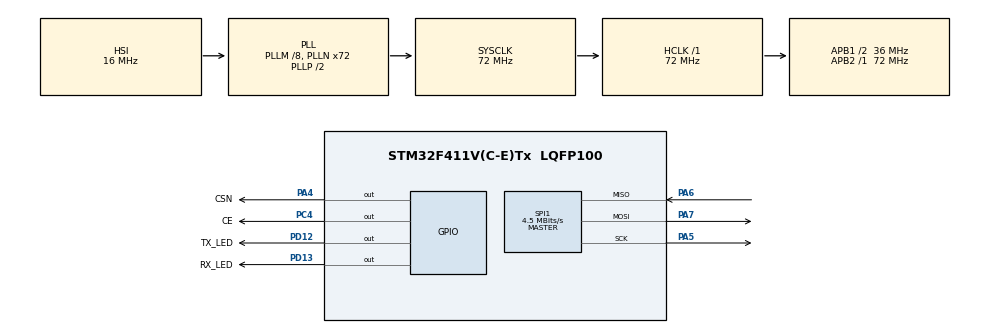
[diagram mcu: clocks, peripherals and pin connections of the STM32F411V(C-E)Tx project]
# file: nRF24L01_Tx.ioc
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Mcu.Family=STM32F4
Mcu.Name=STM32F411V(C-E)Tx
Mcu.Package=LQFP100
NVIC.PriorityGroup=NVIC_PRIORITYGROUP_4
PA13.Mode=Serial_Wire
PA13.Signal=SYS_JTMS-SWDIO
PA14.Mode=Serial_Wire
PA14.Signal=SYS_JTCK-SWCLK
PA4.GPIO_Label=CSN
PA4.Signal=GPIO_Output
PA5.Mode=Full_Duplex_Master
PA5.Signal=SPI1_SCK
PA6.Mode=Full_Duplex_Master
PA6.Signal=SPI1_MISO
PA7.Mode=Full_Duplex_Master
PA7.Signal=SPI1_MOSI
PC4.GPIO_Label=CE
PC4.Signal=GPIO_Output
PD12.GPIO_Label=TX_LED
PD12.Signal=GPIO_Output
PD13.GPIO_Label=RX_LED
PD13.Signal=GPIO_Output
ProjectManager.HeapSize=0x200
ProjectManager.StackSize=0x400
ProjectManager.TargetToolchain=STM32CubeIDE
RCC.48MHZClocksFreq_Value=36000000
RCC.AHBFreq_Value=72000000
RCC.APB1CLKDivider=RCC_HCLK_DIV2
RCC.APB1Freq_Value=36000000
RCC.APB1TimFreq_Value=72000000
RCC.APB2Freq_Value=72000000
RCC.APB2TimFreq_Value=72000000
RCC.CortexFreq_Value=72000000
RCC.HCLKFreq_Value=72000000
RCC.HSE_VALUE=25000000
RCC.HSI_VALUE=16000000
RCC.LSE_VALUE=32768
RCC.PLLM=8
RCC.PLLN=72
RCC.SYSCLKFreq_VALUE=72000000
RCC.SYSCLKSource=RCC_SYSCLKSOURCE_PLLCLK
RCC.VCOOutputFreq_Value=144000000
SPI1.BaudRatePrescaler=SPI_BAUDRATEPRESCALER_16
SPI1.CalculateBaudRate=4.5 MBits/s
SPI1.Direction=SPI_DIRECTION_2LINES
SPI1.Mode=SPI_MODE_MASTER
SPI1.VirtualType=VM_MASTER
TIM1.AutoReloadPreload=TIM_AUTORELOAD_PRELOAD_ENABLE
TIM1.Period=0xFFFE
TIM1.Prescaler=71
VP_TIM1_VS_ClockSourceINT.Mode=Internal
board=custom

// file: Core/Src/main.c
/* USER CODE BEGIN Header */
/**
  ******************************************************************************
  * @file           : main.c
  * @brief          : Main program body
  ******************************************************************************
  * @attention
  *
  * <h2><center>&copy; Copyright (c) 2020 STMicroelectronics.
  * All rights reserved.</center></h2>
  *
  * This software component is licensed by ST under BSD 3-Clause license,
  * the "License"; You may not use this file except in compliance with the
  * License. You may obtain a copy of the License at:
  *                        opensource.org/licenses/BSD-3-Clause
  *
  ******************************************************************************
  */
/* USER CODE END Header */

#include "main.h"
#include "spi.h"
#include "tim.h"
#include "gpio.h"

/* USER CODE BEGIN Includes */
#include "settingModule.h"
/* USER CODE END Includes */

/* USER CODE BEGIN PTD */
#define TEST_CONFIG 1
#define TEST_STATIC_LENGTH 1
#define TEST_DYNAMIC_LENGTH 1
#define	TEST_ACK_PAYLOAD 1

#define TEST_TRANSMIT 0

#define TAB_SIZE 5
#define BUF_SIZE 32
/* USER CODE END PTD */

/* USER CODE BEGIN PV */
uint32_t sendStatus = 0;
uint32_t regTmp = 0;
uint8_t counter = 0;
uint8_t pipe0 = 0;
uint8_t j;

static uint8_t rxPayloadWidthPipe0 = 0;
uint8_t rxFifoStatus = 0;
uint8_t txFifoStatus = 0;

uint8_t TransmitAddress[TAB_SIZE] = { 'A', 'B', 'A', 'B', 'A' };
uint8_t ReceiveAddress[TAB_SIZE] = { 'A', 'B', 'A', 'B', 'A' };

uint8_t ReceiveData[BUF_SIZE];
uint8_t TransmitData[BUF_SIZE];
/* USER CODE END PV */

void SystemClock_Config(void);

int main(void)
{
  /* MCU Configuration--------------------------------------------------------*/

  /* Reset of all peripherals, Initializes the Flash interface and the Systick. */
  HAL_Init();

  /* Configure the system clock */
  SystemClock_Config();

  /* Initialize all configured peripherals */
  MX_GPIO_Init();
  MX_TIM1_Init();
  MX_SPI1_Init();
  /* USER CODE BEGIN 2 */
	HAL_TIM_Base_Start(&htim1);
  /* USER CODE END 2 */

  /* Infinite loop */
  /* USER CODE BEGIN WHILE */
#if  TEST_CONFIG
	/* 0. Create pointer and init structure. */
	nrfStruct_t *testStruct;						// create pointer to struct
	testStruct = nRF_Init(&hspi1, &htim1, CSN_GPIO_Port, CSN_Pin, CE_GPIO_Port,
	CE_Pin);	// create struct
	regTmp = readReg(testStruct, CONFIG); 		// read value of CONFIG register

	/* 1.1  Set role as RX */
	modeTX(testStruct);
	regTmp = readReg(testStruct, CONFIG); 		// read value of CONFIG register
	/* 1.2 Enable CRC and set coding */
	enableCRC(testStruct);
	setCRC(testStruct, CRC_16_bits);
	/* 1.3 Enable/disable interrupts */
	enableRXinterrupt(testStruct);
	enableTXinterrupt(testStruct);
	/* 2. Set ACK for RX pipe  */
	enableAutoAckPipe(testStruct, 0);
	/* 3. Set RX pipe */
	enableRxAddr(testStruct, 0);

	/* 4. Set RX/TX address width */
	setAddrWidth(testStruct, longWidth);

	/* 5. Set ARD and ARC */
	setAutoRetrCount(testStruct, 4);
	setAutoRetrDelay(testStruct, 5); //500us

	/* 6. Set RF channel */
	setChannel(testStruct, 2);

	/* 7. Set RF power and Data Rate */
	setRFpower(testStruct, RF_PWR_0dBm);
	setDataRate(testStruct, RF_DataRate_250);

	/* 8 Set RX address */
	setReceivePipeAddress(testStruct, 0, ReceiveAddress,
			sizeof(ReceiveAddress));

	/* 9. Set TX address */
	setTransmitPipeAddress(testStruct, TransmitAddress,
			sizeof(TransmitAddress));

#if TEST_STATIC_LENGTH
	setRxPayloadWidth(testStruct, 0, BUF_SIZE);
	regTmp = readReg(testStruct, RX_PW_P0);
#endif
#if TEST_DYNAMIC_LENGTH
	enableDynamicPayloadLength(testStruct);
	enableDynamicPayloadLengthPipe(testStruct, 0);
#endif
#if TEST_ACK_PAYLOAD
	enableAckPayload(testStruct);
//	writeTxPayloadAck(testStruct, TransmitData, sizeof(TransmitData)); //not use in TX mode
#endif
#endif
	while (1) {
    /* USER CODE END WHILE */

    /* USER CODE BEGIN 3 */

#if TEST_DYNAMIC_LENGTH
		if (counter == 31)	//overwrite proctect
			counter = 0;
		for (j = 0; j < BUF_SIZE; j++) {	//clean buffer
			TransmitData[j] = 0;
		}
		for (j = 0; j < counter; j++) {		//write content
			TransmitData[j] = 'A' + j;
		}
		TransmitData[counter + 1] = counter + 48;	//write counter
		//	txFifoStatus = getTX_DS(testStruct);
		HAL_Delay(500);

		HAL_GPIO_WritePin(TX_LED_GPIO_Port, TX_LED_Pin, GPIO_PIN_SET);
		HAL_Delay(1000);
		sendStatus = sendPayload(testStruct, TransmitData, counter);
#if TEST_ACK_PAYLOAD
		if (checkReceivedPayload(testStruct, pipe0) == 1) {
			rxPayloadWidthPipe0 = readDynamicPayloadWidth(testStruct);
			readRxPayload(testStruct, ReceiveData, rxPayloadWidthPipe0);
		}
#endif
		HAL_GPIO_WritePin(TX_LED_GPIO_Port, TX_LED_Pin, GPIO_PIN_RESET);
		clearRX_DR(testStruct);
		clearTX_DS(testStruct);
		//txFifoStatus = getTX_DS(testStruct);
		if (getStatusFullTxFIFO(testStruct)) {	//clean tx fifo if full
			flushTx(testStruct);
		}
		counter++;
#endif
#if TEST_TRANSMIT
		rxFifoStatus = getRxStatusFIFO(testStruct);
		txFifoStatus = getTxStatusFIFO(testStruct);
		writeTxPayload(testStruct, TransmitData, sizeof(TransmitData));
		if (checkReceivedPayload(testStruct)) {
			HAL_GPIO_WritePin(RX_LED_GPIO_Port, RX_LED_Pin, GPIO_PIN_SET);
			rxFifoStatus = getRxStatusFIFO(testStruct);
			rxPayloadWidthPipe0 = readDynamicPayloadWidth(testStruct);
			readRxPayload(testStruct, ReceiveData, sizeof(ReceiveData));
			rxFifoStatus = getRxStatusFIFO(testStruct);
			HAL_GPIO_WritePin(RX_LED_GPIO_Port, RX_LED_Pin, GPIO_PIN_RESET);
			HAL_Delay(1);
		}
		txFifoStatus = getTxStatusFIFO(testStruct);
		if (getStatusFullTxFIFO(testStruct)) {
			flushTx(testStruct);
		}
		txFifoStatus = getTxStatusFIFO(testStruct);
#endif
	}

  /* USER CODE END 3 */
}

void SystemClock_Config(void)
{
  RCC_OscInitTypeDef RCC_OscInitStruct = {0};
  RCC_ClkInitTypeDef RCC_ClkInitStruct = {0};

  /** Configure the main internal regulator output voltage
  */
  __HAL_RCC_PWR_CLK_ENABLE();
  __HAL_PWR_VOLTAGESCALING_CONFIG(PWR_REGULATOR_VOLTAGE_SCALE1);
  /** Initializes the CPU, AHB and APB busses clocks
  */
  RCC_OscInitStruct.OscillatorType = RCC_OSCILLATORTYPE_HSI;
  RCC_OscInitStruct.HSIState = RCC_HSI_ON;
  RCC_OscInitStruct.HSICalibrationValue = RCC_HSICALIBRATION_DEFAULT;
  RCC_OscInitStruct.PLL.PLLState = RCC_PLL_ON;
  RCC_OscInitStruct.PLL.PLLSource = RCC_PLLSOURCE_HSI;
  RCC_OscInitStruct.PLL.PLLM = 8;
  RCC_OscInitStruct.PLL.PLLN = 72;
  RCC_OscInitStruct.PLL.PLLP = RCC_PLLP_DIV2;
  RCC_OscInitStruct.PLL.PLLQ = 4;
  if (HAL_RCC_OscConfig(&RCC_OscInitStruct) != HAL_OK)
  {
    Error_Handler();
  }
  /** Initializes the CPU, AHB and APB busses clocks
  */
  RCC_ClkInitStruct.ClockType = RCC_CLOCKTYPE_HCLK|RCC_CLOCKTYPE_SYSCLK
                              |RCC_CLOCKTYPE_PCLK1|RCC_CLOCKTYPE_PCLK2;
  RCC_ClkInitStruct.SYSCLKSource = RCC_SYSCLKSOURCE_PLLCLK;
  RCC_ClkInitStruct.AHBCLKDivider = RCC_SYSCLK_DIV1;
  RCC_ClkInitStruct.APB1CLKDivider = RCC_HCLK_DIV2;
  RCC_ClkInitStruct.APB2CLKDivider = RCC_HCLK_DIV1;

  if (HAL_RCC_ClockConfig(&RCC_ClkInitStruct, FLASH_LATENCY_2) != HAL_OK)
  {
    Error_Handler();
  }
}

void Error_Handler(void)
{
}

/************************ (C) COPYRIGHT STMicroelectronics *****END OF FILE****/
